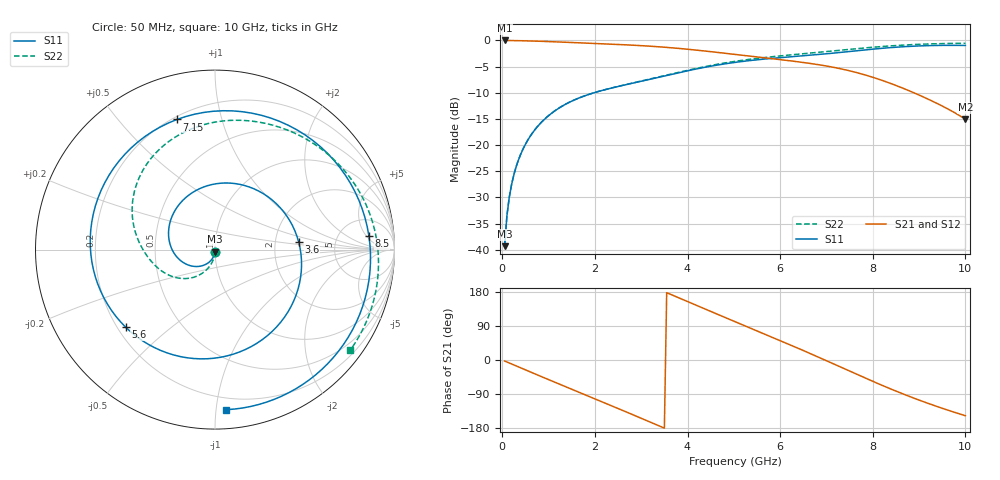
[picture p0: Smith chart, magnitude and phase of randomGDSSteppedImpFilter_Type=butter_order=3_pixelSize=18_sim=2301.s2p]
! freq	dB(S11)	phase(S11)	dB(S12)	phase(S12)
!  dB(S21)	phase(S21)	dB(S22)	phase(S22)
!S-par simulation data
#  GHz  S  DB  R 50
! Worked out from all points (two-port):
!   200 points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, 50 MHz to 10 GHz, reference 50 ohm
!   highest |S21| = -0.01 dB at 50 MHz (marker M1); lowest = -15.1 dB at 10 GHz (marker M2)
!   |S21| within 3 dB of the highest: start of sweep to 5.353 GHz
!   lowest |S11| = -39.3 dB at 50 MHz (marker M3), VSWR 1.02, Z = 50 - j1.08 ohm
!   |S11| at or under -10 dB: start of sweep to 1.984 GHz
!   |S22| runs from -39.3 to -0.5 dB; largest |S21 - S12| = 0
!   S11 on the Smith chart (normalised r, x): 50 MHz: 1.00, -0.02; 3.6 GHz: 2.72, +0.30; 5.6 GHz: 0.23, -0.36; 7.15 GHz: 0.22, +0.73; 8.5 GHz: 10, +6; 10 GHz: 0.12, -1.07
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0.05  -39.32 -88.3  -0.01 -2.7  -0.01 -2.7  -39.28 -86.8
0.1  -33.50 -94.2  -0.02 -5.3  -0.02 -5.3  -33.46 -91.3
0.2  -27.57 -102.6  -0.03 -10.5  -0.03 -10.5  -27.54 -96.7
0.5  -19.85 -123.8  -0.08 -26.1  -0.08 -26.1  -19.82 -108.9
1.15  -13.37 -168.2  -0.28 -59.5  -0.28 -59.5  -13.35 -132.0
1.75  -10.69 149.4  -0.50 -89.9  -0.50 -89.9  -10.68 -150.7
2.2  -9.46 116.0  -0.66 -112.7  -0.66 -112.7  -9.45 -162.8
2.65  -8.50 81.0  -0.84 -135.7  -0.84 -135.7  -8.48 -173.7
3.4  -7.00 21.1  -1.24 -174.5  -1.24 -174.5  -6.94 168.7
3.6  -6.59 5.3  -1.37 175.0  -1.37 175.0  -6.53 163.7
4.25  -5.35 -44.2  -1.91 141.2  -1.91 141.2  -5.24 145.9
5.05  -4.17 -101.1  -2.70 100.0  -2.70 100.0  -3.97 120.9
5.6  -3.62 -139.1  -3.26 71.9  -3.26 71.9  -3.34 102.9
6.2  -3.16 178.4  -3.88 40.9  -3.88 40.9  -2.79 83.1
6.7  -2.80 141.2  -4.47 14.3  -4.47 14.3  -2.38 66.9
7.15  -2.44 106.3  -5.14 -10.1  -5.14 -10.1  -2.01 52.4
7.7  -1.94 63.4  -6.27 -40.2  -6.27 -40.2  -1.55 34.6
8.35  -1.40 15.5  -8.11 -74.5  -8.11 -74.5  -1.07 13.5
8.5  -1.30 5.1  -8.61 -82.0  -8.61 -82.0  -0.98 8.6
9.15  -1.01 -36.4  -11.04 -112.5  -11.04 -112.5  -0.70 -11.8
9.6  -0.94 -62.8  -13.00 -131.5  -13.00 -131.5  -0.59 -25.3
10  -0.97 -85.9  -15.07 -147.0  -15.07 -147.0  -0.55 -36.7
